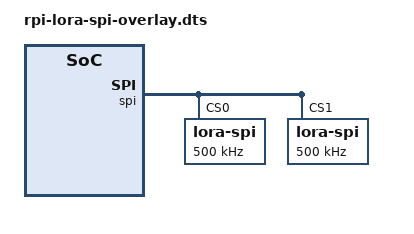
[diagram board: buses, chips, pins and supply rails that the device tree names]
/dts-v1/;
/plugin/;

/ {
	fragment@0 {
		target = <&spi>;
		__overlay__ {
			#address-cells = <1>;
			#size-cells = <0>;

			spidev@0 {
				status = "disabled";
			};

			spidev@1 {
				status = "disabled";
			};
			
			lora-spi@0 {
				compatible = "lora-spi";
				reg = <0>;
				status = "okay";
				spi-max-frequency = <0x7a120>;
			};

			lora-spi@1 {
				compatible = "lora-spi";
				reg = <1>;
				status = "okay";
				spi-max-frequency = <0x7a120>;
			};
		};
	};
};
